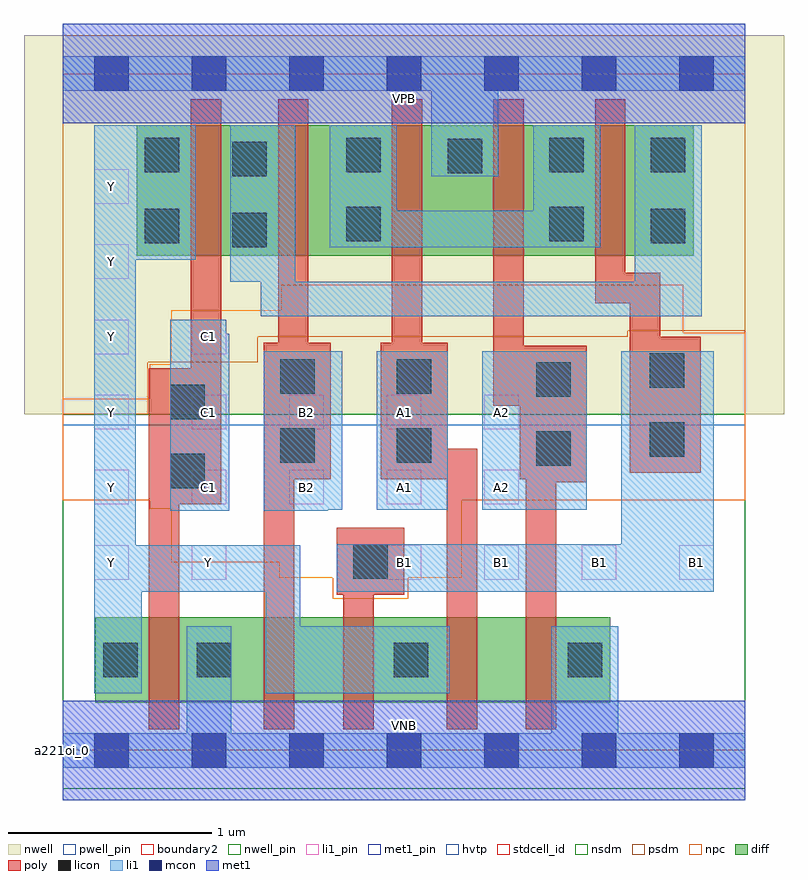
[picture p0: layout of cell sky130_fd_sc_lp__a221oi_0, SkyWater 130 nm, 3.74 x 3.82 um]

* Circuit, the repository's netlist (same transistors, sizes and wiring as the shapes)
* Copyright 2020 The SkyWater PDK Authors
*
* Licensed under the Apache License, Version 2.0 (the "License");
* you may not use this file except in compliance with the License.
* You may obtain a copy of the License at
*
*     https://www.apache.org/licenses/LICENSE-2.0
*
* Unless required by applicable law or agreed to in writing, software
* distributed under the License is distributed on an "AS IS" BASIS,
* WITHOUT WARRANTIES OR CONDITIONS OF ANY KIND, either express or implied.
* See the License for the specific language governing permissions and
* limitations under the License.
*
* SPDX-License-Identifier: Apache-2.0

.SUBCKT sky130_fd_sc_lp__a221oi_0 A1 A2 B1 B2 C1 VGND VNB VPB VPWR Y
*.PININFO A1:I A2:I B1:I B2:I C1:I VGND:I VNB:I VPB:I VPWR:I Y:O
MMPA0 pndA A1 VPWR VPB sky130_fd_pr__pfet_01v8_hvt m=1 w=0.64U l=0.15U mult=1 sa=0.265
+ sb=0.265 sd=0.28 area=0.063 perim=1.14
MMPA1 pndA A2 VPWR VPB sky130_fd_pr__pfet_01v8_hvt m=1 w=0.64U l=0.15U mult=1 sa=0.265
+ sb=0.265 sd=0.28 area=0.063 perim=1.14
MMPB0 pndB B1 pndA VPB sky130_fd_pr__pfet_01v8_hvt m=1 w=0.64U l=0.15U mult=1 sa=0.265
+ sb=0.265 sd=0.28 area=0.063 perim=1.14
MMPB1 pndB B2 pndA VPB sky130_fd_pr__pfet_01v8_hvt m=1 w=0.64U l=0.15U mult=1 sa=0.265
+ sb=0.265 sd=0.28 area=0.063 perim=1.14
MMPC0 Y C1 pndB VPB sky130_fd_pr__pfet_01v8_hvt m=1 w=0.64U l=0.15U mult=1 sa=0.265
+ sb=0.265 sd=0.28 area=0.063 perim=1.14
MMNA0 Y A1 sndA1 VNB sky130_fd_pr__nfet_01v8 m=1 w=0.42U l=0.15U mult=1 sa=0.265
+ sb=0.265 sd=0.28 area=0.063 perim=1.14
MMNA1 sndA1 A2 VGND VNB sky130_fd_pr__nfet_01v8 m=1 w=0.42U l=0.15U mult=1 sa=0.265
+ sb=0.265 sd=0.28 area=0.063 perim=1.14
MMNB0 Y B1 sndB1 VNB sky130_fd_pr__nfet_01v8 m=1 w=0.42U l=0.15U mult=1 sa=0.265
+ sb=0.265 sd=0.28 area=0.063 perim=1.14
MMNB1 sndB1 B2 VGND VNB sky130_fd_pr__nfet_01v8 m=1 w=0.42U l=0.15U mult=1 sa=0.265
+ sb=0.265 sd=0.28 area=0.063 perim=1.14
MMNC0 Y C1 VGND VNB sky130_fd_pr__nfet_01v8 m=1 w=0.42U l=0.15U mult=1 sa=0.265
+ sb=0.265 sd=0.28 area=0.063 perim=1.14
.ENDS sky130_fd_sc_lp__a221oi_0

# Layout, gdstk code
import gdstk
lib = gdstk.Library(unit=1e-6, precision=1e-09)
def R(c, l, rs):  # rectangles x0, y0, x1, y1
    for r in rs: c.add(gdstk.rectangle(r[:2], r[2:], *l))
def A(c, l, x, y, w, h, nx, ny, dx, dy):  # array of equal rectangles
    R(c, l, [(x+i*dx, y+j*dy, x+i*dx+w, y+j*dy+h) for i in range(nx) for j in range(ny)])
def P(c, l, *ps):  # polygons
    for p in ps: c.add(gdstk.Polygon(p, *l))
nwell_pin = (64, 16)
nwell = (64, 20)
diff = (65, 20)
poly = (66, 20)
licon = (66, 44)
li1_pin = (67, 16)
li1 = (67, 20)
mcon = (67, 44)
met1_pin = (68, 16)
met1 = (68, 20)
hvtp = (78, 44)
stdcell_id = (81, 4)
nsdm = (93, 44)
psdm = (94, 20)
npc = (95, 20)
pwell_pin = (122, 16)
boundary2 = (236, 0)

sky130_fd_sc_lp__a221oi_ = lib.new_cell('sky130_fd_sc_lp__a221oi_0')
R(sky130_fd_sc_lp__a221oi_, nwell_pin, [(0,3.085,3.36,3.33)])
R(sky130_fd_sc_lp__a221oi_, nwell, [(-0.19,1.655,3.55,3.52)])
R(sky130_fd_sc_lp__a221oi_, diff, [(0.16,0.235,2.695,0.655), (0.365,2.435,3.105,3.075)])
P(sky130_fd_sc_lp__a221oi_, poly, [(0.78,3.205),(0.63,3.205),(0.63,1.88),(0.425,1.88),(0.425,0.105),(0.575,0.105),(0.575,1.21),(0.78,1.21)],
  [(1.32,2.005),(1.21,2.005),(1.21,3.205),(1.06,3.205),(1.06,2.005),(0.99,2.005),(0.99,0.105),(1.14,0.105),(1.14,1.335),(1.32,1.335)],
  [(1.68,1.095),(1.35,1.095),(1.35,0.765),(1.38,0.765),(1.38,0.105),(1.53,0.105),(1.53,0.765),(1.68,0.765)],
  [(2.04,1.485),(1.895,1.485),(1.895,2.005),(1.77,2.005),(1.77,3.205),(1.62,3.205),(1.62,2.005),(1.565,2.005),(1.565,1.335),(1.89,1.335),(1.89,0.105),(2.04,0.105)],
  [(2.58,1.99),(2.27,1.99),(2.27,3.205),(2.12,3.205),(2.12,1.695),(2.25,1.695),(2.25,1.335),(2.28,1.335),(2.28,0.105),(2.43,0.105),(2.43,1.32),(2.58,1.32)],
  [(3.14,2.035),(2.94,2.035),(2.94,2.35),(2.77,2.35),(2.77,3.205),(2.62,3.205),(2.62,2.2),(2.79,2.2),(2.79,1.365),(3.14,1.365)])
R(sky130_fd_sc_lp__a221oi_, licon, [(0.2,0.36,0.37,0.53), (0.66,0.36,0.83,0.53), (1.63,0.36,1.8,0.53), (2.485,0.36,2.655,0.53), (1.43,0.845,1.6,1.015), (0.53,1.29,0.7,1.46), (2.33,1.4,2.5,1.57), (1.07,1.415,1.24,1.585), (1.645,1.415,1.815,1.585), (2.89,1.445,3.06,1.615), (0.53,1.63,0.7,1.8), (2.33,1.74,2.5,1.91), (1.07,1.755,1.24,1.925), (1.645,1.755,1.815,1.925), (2.89,1.785,3.06,1.955), (0.835,2.475,1.005,2.645), (0.405,2.495,0.575,2.665), (2.895,2.495,3.065,2.665), (1.395,2.505,1.565,2.675), (2.395,2.505,2.565,2.675), (0.835,2.825,1.005,2.995), (1.895,2.84,2.065,3.01), (0.405,2.845,0.575,3.015), (1.395,2.845,1.565,3.015), (2.395,2.845,2.565,3.015), (2.895,2.845,3.065,3.015)])
A(sky130_fd_sc_lp__a221oi_, li1_pin, 1.595, 0.84, 0.17, 0.17, 4, 1, 0.48, 0)
A(sky130_fd_sc_lp__a221oi_, li1_pin, 0.155, 1.21, 0.17, 0.17, 5, 2, 0.48, 0.37)
A(sky130_fd_sc_lp__a221oi_, li1_pin, 0.155, 1.95, 0.17, 0.17, 1, 3, 0, 0.37)
R(sky130_fd_sc_lp__a221oi_, li1_pin, [(0.155,0.84,0.325,1.01), (0.635,0.84,0.805,1.01), (0.635,1.95,0.805,2.12)])
R(sky130_fd_sc_lp__a221oi_, li1, [(1.545,1.185,1.895,1.965), (2.065,1.185,2.58,1.965)])
P(sky130_fd_sc_lp__a221oi_, li1, [(3.205,1.965),(2.75,1.965),(2.75,1.015),(1.35,1.015),(1.35,0.78),(3.205,0.78)],
  [(3.36,3.415),(0,3.415),(0,3.245),(1.815,3.245),(1.815,2.825),(2.145,2.825),(2.145,3.245),(3.36,3.245)],
  [(0.82,2.05),(0.805,2.05),(0.805,2.12),(0.53,2.12),(0.53,1.18),(0.82,1.18)],
  [(1.375,1.965),(0.99,1.965),(0.99,1.18),(1.305,1.18),(1.305,1.185),(1.375,1.185)],
  [(1.905,0.61),(1.17,0.61),(1.17,1.01),(0.36,1.01),(0.36,2.415),(0.655,2.415),(0.655,3.075),(0.155,3.075),(0.155,0.28),(0.39,0.28),(0.39,0.78),(1,0.78),(1,0.28),(1.905,0.28)],
  [(2.645,3.075),(2.315,3.075),(2.315,2.655),(1.645,2.655),(1.645,3.075),(1.315,3.075),(1.315,2.475),(2.645,2.475)],
  [(3.36,0.085),(2.735,0.085),(2.735,0.61),(2.405,0.61),(2.405,0.085),(0.83,0.085),(0.83,0.61),(0.61,0.61),(0.61,0.085),(0,0.085),(0,-0.085),(3.36,-0.085)],
  [(3.145,3.075),(2.815,3.075),(2.815,2.305),(1.145,2.305),(1.145,3.075),(0.825,3.075),(0.825,2.305),(0.975,2.305),(0.975,2.135),(3.145,2.135)])
A(sky130_fd_sc_lp__a221oi_, mcon, 0.155, -0.085, 0.17, 0.17, 7, 2, 0.48, 3.33)
R(sky130_fd_sc_lp__a221oi_, met1_pin, [(0,0,3.36,0.245), (0,3.085,3.36,3.33)])
R(sky130_fd_sc_lp__a221oi_, met1, [(0,-0.245,3.36,0.245), (0,3.085,3.36,3.575)])
R(sky130_fd_sc_lp__a221oi_, hvtp, [(0,1.6,3.36,3.33)])
R(sky130_fd_sc_lp__a221oi_, stdcell_id, [(0,0,3.36,3.33)])
R(sky130_fd_sc_lp__a221oi_, nsdm, [(0,-0.19,3.36,1.655)])
P(sky130_fd_sc_lp__a221oi_, psdm, [(3.36,3.52),(0,3.52),(0,1.655),(0.42,1.655),(0.42,1.91),(0.96,1.91),(0.96,2.035),(2.78,2.035),(2.78,2.065),(3.36,2.065)])
P(sky130_fd_sc_lp__a221oi_, npc, [(3.36,2.055),(3.055,2.055),(3.055,2.29),(1.075,2.29),(1.075,2.165),(0.535,2.165),(0.535,1.9),(0.43,1.9),(0.43,1.73),(0,1.73),(0,1.23),(0.43,1.23),(0.43,1.19),(0.535,1.19),(0.535,0.925),(1.065,0.925),(1.065,0.85),(1.33,0.85),(1.33,0.745),(1.7,0.745),(1.7,0.85),(1.965,0.85),(1.965,1.23),(3.36,1.23)])
R(sky130_fd_sc_lp__a221oi_, pwell_pin, [(0,0,3.36,0.245)])
R(sky130_fd_sc_lp__a221oi_, boundary2, [(0,0,3.36,3.33)])
sky130_fd_sc_lp__a221oi_.add(gdstk.Label('VNB', (1.68,0.123), layer=64, texttype=59))
sky130_fd_sc_lp__a221oi_.add(gdstk.Label('VPB', (1.68,3.208), layer=64, texttype=5))
sky130_fd_sc_lp__a221oi_.add(gdstk.Label('a221oi_0', (0,0), layer=83, texttype=44))
sky130_fd_sc_lp__a221oi_.add(gdstk.Label('VPWR', (1.68,3.208), layer=68, texttype=5))
sky130_fd_sc_lp__a221oi_.add(gdstk.Label('VGND', (1.68,0.123), layer=68, texttype=5))
sky130_fd_sc_lp__a221oi_.add(gdstk.Label('A1', (1.68,1.295), layer=67, texttype=5))
sky130_fd_sc_lp__a221oi_.add(gdstk.Label('A1', (1.68,1.665), layer=67, texttype=5))
sky130_fd_sc_lp__a221oi_.add(gdstk.Label('Y', (0.24,0.925), layer=67, texttype=5))
sky130_fd_sc_lp__a221oi_.add(gdstk.Label('Y', (0.72,0.925), layer=67, texttype=5))
sky130_fd_sc_lp__a221oi_.add(gdstk.Label('A2', (2.16,1.295), layer=67, texttype=5))
sky130_fd_sc_lp__a221oi_.add(gdstk.Label('A2', (2.16,1.665), layer=67, texttype=5))
sky130_fd_sc_lp__a221oi_.add(gdstk.Label('B2', (1.2,1.295), layer=67, texttype=5))
sky130_fd_sc_lp__a221oi_.add(gdstk.Label('B2', (1.2,1.665), layer=67, texttype=5))
sky130_fd_sc_lp__a221oi_.add(gdstk.Label('C1', (0.72,1.295), layer=67, texttype=5))
sky130_fd_sc_lp__a221oi_.add(gdstk.Label('C1', (0.72,1.665), layer=67, texttype=5))
sky130_fd_sc_lp__a221oi_.add(gdstk.Label('C1', (0.72,2.035), layer=67, texttype=5))
sky130_fd_sc_lp__a221oi_.add(gdstk.Label('B1', (1.68,0.925), layer=67, texttype=5))
sky130_fd_sc_lp__a221oi_.add(gdstk.Label('B1', (2.16,0.925), layer=67, texttype=5))
sky130_fd_sc_lp__a221oi_.add(gdstk.Label('B1', (2.64,0.925), layer=67, texttype=5))
sky130_fd_sc_lp__a221oi_.add(gdstk.Label('B1', (3.12,0.925), layer=67, texttype=5))
sky130_fd_sc_lp__a221oi_.add(gdstk.Label('Y', (0.24,2.405), layer=67, texttype=5))
sky130_fd_sc_lp__a221oi_.add(gdstk.Label('Y', (0.24,2.775), layer=67, texttype=5))
sky130_fd_sc_lp__a221oi_.add(gdstk.Label('Y', (0.24,1.665), layer=67, texttype=5))
sky130_fd_sc_lp__a221oi_.add(gdstk.Label('Y', (0.24,2.035), layer=67, texttype=5))
sky130_fd_sc_lp__a221oi_.add(gdstk.Label('Y', (0.24,1.295), layer=67, texttype=5))

lib.write_gds('sky130_fd_sc_lp__a221oi_0.gds')
